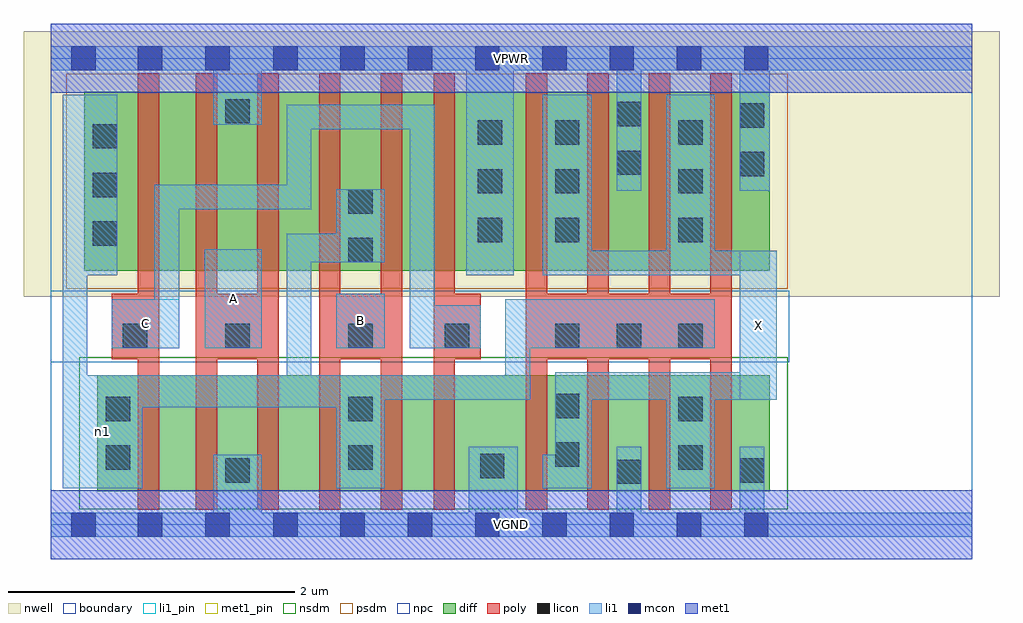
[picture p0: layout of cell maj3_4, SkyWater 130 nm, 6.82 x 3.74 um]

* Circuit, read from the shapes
.subckt maj3_4 A B C VGND VPWR X n1
XM1 n2 C n1 VSUBS sky130_fd_pr__nfet_01v8 w=0.81 l=0.15
XM2 VGND A n2 VSUBS sky130_fd_pr__nfet_01v8 w=0.81 l=0.15
XM3 n3 A VGND VSUBS sky130_fd_pr__nfet_01v8 w=0.81 l=0.15
XM4 n1 B n3 VSUBS sky130_fd_pr__nfet_01v8 w=0.81 l=0.15
XM5 n4 B n1 VSUBS sky130_fd_pr__nfet_01v8 w=0.81 l=0.15
XM6 VGND C n4 VSUBS sky130_fd_pr__nfet_01v8 w=0.81 l=0.15
XM7 X n1 VGND VSUBS sky130_fd_pr__nfet_01v8 w=0.81 l=0.15 m=4
XM8 n5 C n1 n6 sky130_fd_pr__pfet_01v8 w=1.25 l=0.15
XM9 VPWR A n5 n6 sky130_fd_pr__pfet_01v8 w=1.25 l=0.15
XM10 n7 A VPWR n6 sky130_fd_pr__pfet_01v8 w=1.25 l=0.15
XM11 n1 B n7 n6 sky130_fd_pr__pfet_01v8 w=1.25 l=0.15
XM12 n8 B n1 n6 sky130_fd_pr__pfet_01v8 w=1.25 l=0.15
XM13 VPWR C n8 n6 sky130_fd_pr__pfet_01v8 w=1.25 l=0.15
XM14 X n1 VPWR n6 sky130_fd_pr__pfet_01v8 w=1.25 l=0.15 m=4
.ends

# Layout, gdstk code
import gdstk
lib = gdstk.Library(unit=1e-6, precision=1e-09)
def R(c, l, rs):  # rectangles x0, y0, x1, y1
    for r in rs: c.add(gdstk.rectangle(r[:2], r[2:], *l))
def A(c, l, x, y, w, h, nx, ny, dx, dy):  # array of equal rectangles
    R(c, l, [(x+i*dx, y+j*dy, x+i*dx+w, y+j*dy+h) for i in range(nx) for j in range(ny)])
nwell = (64, 20)
diff = (65, 20)
poly = (66, 20)
licon = (66, 44)
li1_pin = (67, 16)
li1 = (67, 20)
mcon = (67, 44)
met1_pin = (68, 16)
met1 = (68, 20)
nsdm = (93, 44)
psdm = (94, 20)
npc = (95, 20)
boundary = (235, 4)

maj3_4 = lib.new_cell('maj3_4')
R(maj3_4, nwell, [(-0.19,1.595,6.63,3.45), (0,1.595,6.44,3.45)])
R(maj3_4, diff, [(0.325,0.235,5.025,1.045), (0.235,1.775,5.025,3.025)])
A(maj3_4, poly, 1.015, 0.105, 0.15, 3.05, 4, 1, 0.43, 0)
A(maj3_4, poly, 3.32, 0.105, 0.15, 3.05, 4, 1, 0.43, 0)
R(maj3_4, poly, [(0.61,0.105,0.76,3.155), (2.675,0.105,2.825,3.155), (0.425,1.155,0.76,1.615), (1.015,1.155,1.595,1.615), (1.875,1.155,2.455,1.615), (2.675,1.155,3.005,1.615), (3.32,1.155,4.76,1.615)])
A(maj3_4, licon, 3.525, 1.235, 0.17, 0.17, 3, 1, 0.43, 0)
A(maj3_4, licon, 0.295, 1.95, 0.17, 0.17, 1, 3, 0, 0.34)
A(maj3_4, licon, 2.985, 1.975, 0.17, 0.17, 1, 3, 0, 0.34)
A(maj3_4, licon, 3.525, 1.975, 0.17, 0.17, 1, 3, 0, 0.34)
A(maj3_4, licon, 4.385, 1.975, 0.17, 0.17, 1, 3, 0, 0.34)
R(maj3_4, licon, [(3.955,0.285,4.125,0.455), (1.22,0.295,1.39,0.465), (4.815,0.295,4.985,0.465), (3,0.325,3.17,0.495), (0.385,0.385,0.555,0.555), (2.08,0.385,2.25,0.555), (4.385,0.385,4.555,0.555), (3.525,0.405,3.695,0.575), (0.385,0.725,0.555,0.895), (2.08,0.725,2.25,0.895), (4.385,0.725,4.555,0.895), (3.525,0.745,3.695,0.915), (0.505,1.235,0.675,1.405), (1.22,1.235,1.39,1.405), (2.08,1.235,2.25,1.405), (2.755,1.235,2.925,1.405), (2.08,1.835,2.25,2.005), (2.08,2.175,2.25,2.345), (4.815,2.435,4.985,2.605), (3.955,2.445,4.125,2.615), (4.815,2.775,4.985,2.945), (3.955,2.785,4.125,2.955), (1.22,2.805,1.39,2.975)])
R(maj3_4, li1_pin, [(4.815,0.875,5.075,1.915), (0.425,1.235,0.9,1.575), (1.075,1.235,1.475,1.925), (1.995,1.235,2.335,1.615)])
R(maj3_4, li1, [(0,-0.085,6.44,0.085), (1.135,-0.085,1.475,0.49), (2.92,-0.085,3.265,0.545), (3.955,-0.085,4.125,0.545), (4.815,-0.085,4.985,0.545), (0.085,0.255,0.64,1.045), (0.085,0.255,0.255,3.005), (1.995,0.255,2.335,1.045), (3.44,0.255,3.78,0.49), (3.525,0.255,3.78,1.065), (4.3,0.255,4.64,1.065), (0.085,0.82,2.335,1.045), (1.65,0.82,1.82,2.035), (0.085,0.875,3.35,1.045), (3.175,0.875,3.35,1.575), (3.525,0.875,5.075,1.065), (4.815,0.875,5.075,1.915), (0.425,1.235,0.9,1.575), (0.725,1.235,0.9,2.375), (1.075,1.235,1.475,1.925), (1.995,1.235,2.335,1.615), (2.51,1.235,2.685,2.935), (2.51,1.235,3.005,1.535), (3.175,1.235,4.64,1.575), (0.085,1.745,0.465,3.005), (2.905,1.745,3.235,3.345), (3.44,1.745,3.78,3.005), (3.44,1.745,5.075,1.915), (4.3,1.745,4.64,3.005), (1.65,1.835,2.335,2.035), (1.995,1.835,2.335,2.345), (0.725,2.205,1.82,2.375), (1.65,2.205,1.82,2.935), (3.955,2.335,4.125,3.345), (4.815,2.335,5.025,3.345), (1.65,2.765,2.685,2.935), (1.135,2.795,1.475,3.345), (0,3.175,6.44,3.345)])
A(maj3_4, mcon, 1.555, -0.085, 0.17, 0.17, 8, 2, 0.47, 3.26)
R(maj3_4, mcon, [(0.145,-0.085,0.315,0.085), (0.61,-0.085,0.78,0.085), (1.08,-0.085,1.25,0.085), (0.145,3.175,0.315,3.345), (0.61,3.175,0.78,3.345), (1.08,3.175,1.25,3.345)])
R(maj3_4, met1_pin, [(0,-0.24,6.44,0.24), (0,3.02,6.44,3.5)])
R(maj3_4, met1, [(0,-0.24,6.44,0.24), (0,3.02,6.44,3.5)])
R(maj3_4, nsdm, [(0.2,0.11,5.15,1.17)])
R(maj3_4, psdm, [(0.11,1.65,5.15,3.15)])
R(maj3_4, npc, [(0,1.135,5.16,1.635)])
R(maj3_4, boundary, [(0,0,6.44,3.26)])
maj3_4.add(gdstk.Label('A', (1.275,1.58), layer=67, texttype=5))
maj3_4.add(gdstk.Label('B', (2.165,1.425), layer=67, texttype=5))
maj3_4.add(gdstk.Label('C', (0.662,1.405), layer=67, texttype=5))
maj3_4.add(gdstk.Label('X', (4.945,1.395), layer=67, texttype=5))
maj3_4.add(gdstk.Label('n1', (0.362,0.65), layer=67, texttype=5))
maj3_4.add(gdstk.Label('VPWR', (3.22,3.26), layer=68, texttype=5))
maj3_4.add(gdstk.Label('VGND', (3.22,0), layer=68, texttype=5))
maj3_4.add(gdstk.Label('A', (1.275,1.58), layer=67, texttype=16))
maj3_4.add(gdstk.Label('B', (2.165,1.425), layer=67, texttype=16))
maj3_4.add(gdstk.Label('C', (0.662,1.405), layer=67, texttype=16))
maj3_4.add(gdstk.Label('X', (4.945,1.395), layer=67, texttype=16))
maj3_4.add(gdstk.Label('VPWR', (3.22,3.26), layer=68, texttype=16))
maj3_4.add(gdstk.Label('VGND', (3.22,0), layer=68, texttype=16))

lib.write_gds('maj3_4.gds')
